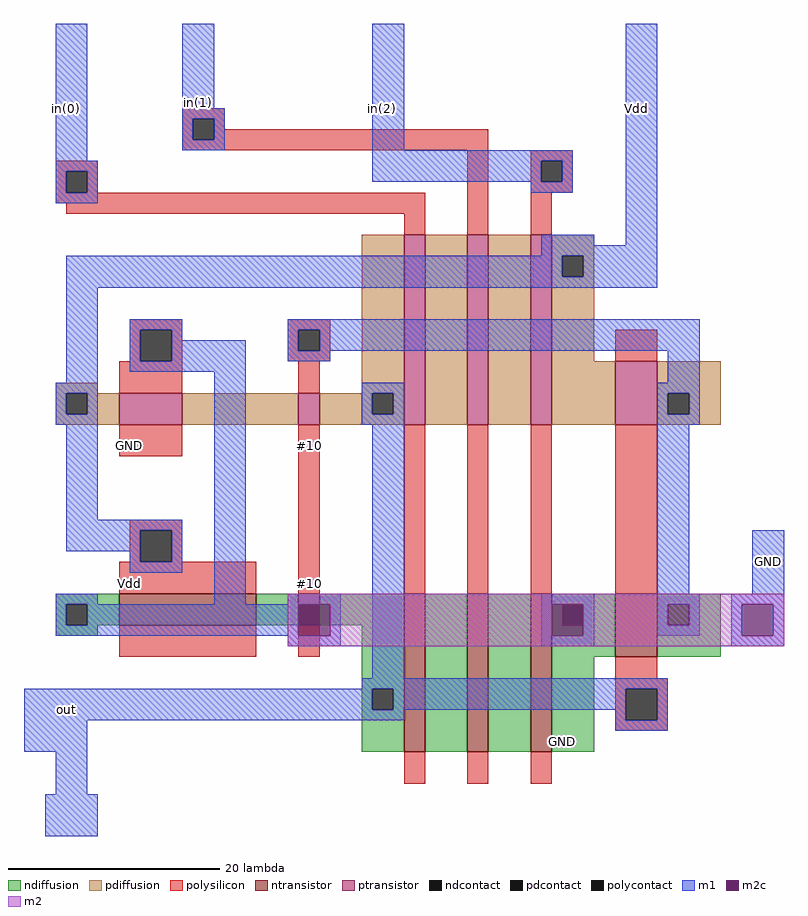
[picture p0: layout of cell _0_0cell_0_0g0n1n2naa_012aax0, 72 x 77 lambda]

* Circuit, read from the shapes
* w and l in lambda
.subckt _0_0cell_0_0g0n1n2naa_012aax0 Vdd in(2) out in(0)
M1 n1 Vdd GND VSUBS nfet w=3 l=13
M2 out #10 n1 VSUBS nfet w=3 l=2
M3 n2 in(0) out VSUBS nfet w=15 l=2
M4 n3 in(1) n2 VSUBS nfet w=15 l=2
M5 GND in(2) n3 VSUBS nfet w=15 l=2
M6 #10 out GND VSUBS nfet w=6 l=4
M7 n4 GND Vdd NWELL pfet w=3 l=6
M8 out #10 n4 NWELL pfet w=3 l=2
M9 n5 in(0) out NWELL pfet w=18 l=2
M10 n6 in(1) n5 NWELL pfet w=18 l=2
M11 Vdd in(2) n6 NWELL pfet w=18 l=2
M12 #10 out Vdd NWELL pfet w=6 l=4
.ends

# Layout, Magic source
magic
tech TSMC180
<< ndiffusion >>
rect 6 21 12 22
rect 6 19 7 21
rect 9 19 12 21
rect 25 19 29 22
rect 31 19 39 22
rect 6 18 10 19
rect 35 13 39 19
rect 35 11 36 13
rect 38 11 39 13
rect 35 7 39 11
rect 41 7 45 22
rect 47 7 51 22
rect 53 21 59 22
rect 53 19 54 21
rect 56 19 59 21
rect 53 16 59 19
rect 63 21 69 22
rect 63 19 64 21
rect 66 19 69 21
rect 63 16 69 19
rect 53 7 57 16
<< ndcontact >>
rect 7 19 9 21
rect 36 11 38 13
rect 54 19 56 21
rect 64 19 66 21
<< ntransistor >>
rect 12 19 25 22
rect 29 19 31 22
rect 39 7 41 22
rect 45 7 47 22
rect 51 7 53 22
rect 59 16 63 22
<< pdiffusion >>
rect 6 41 10 42
rect 35 41 39 56
rect 6 39 7 41
rect 9 39 12 41
rect 6 38 12 39
rect 18 38 29 41
rect 31 39 36 41
rect 38 39 39 41
rect 31 38 39 39
rect 41 38 45 56
rect 47 38 51 56
rect 53 54 57 56
rect 53 52 54 54
rect 56 52 57 54
rect 53 44 57 52
rect 53 38 59 44
rect 63 41 69 44
rect 63 39 64 41
rect 66 39 69 41
rect 63 38 69 39
<< pdcontact >>
rect 7 39 9 41
rect 36 39 38 41
rect 54 52 56 54
rect 64 39 66 41
<< ptransistor >>
rect 12 38 18 41
rect 29 38 31 41
rect 39 38 41 56
rect 45 38 47 56
rect 51 38 53 56
rect 59 38 63 44
<< polysilicon >>
rect 18 67 22 68
rect 18 65 19 67
rect 21 66 22 67
rect 21 65 47 66
rect 18 64 47 65
rect 6 62 10 63
rect 6 60 7 62
rect 9 60 10 62
rect 6 59 41 60
rect 7 58 41 59
rect 39 56 41 58
rect 45 56 47 64
rect 51 63 55 64
rect 51 61 52 63
rect 54 61 55 63
rect 51 60 55 61
rect 51 56 53 60
rect 13 47 18 48
rect 13 44 14 47
rect 17 44 18 47
rect 28 47 32 48
rect 28 45 29 47
rect 31 45 32 47
rect 28 44 32 45
rect 12 41 18 44
rect 29 41 31 44
rect 59 44 63 47
rect 12 35 18 38
rect 13 28 18 29
rect 13 25 14 28
rect 17 25 18 28
rect 12 22 25 25
rect 29 22 31 38
rect 39 22 41 38
rect 45 22 47 38
rect 51 22 53 38
rect 59 22 63 38
rect 12 16 25 19
rect 29 16 31 19
rect 59 14 63 16
rect 59 13 64 14
rect 59 10 60 13
rect 63 10 64 13
rect 59 9 64 10
rect 39 4 41 7
rect 45 4 47 7
rect 51 4 53 7
<< polycontact >>
rect 19 65 21 67
rect 7 60 9 62
rect 52 61 54 63
rect 14 44 17 47
rect 29 45 31 47
rect 14 25 17 28
rect 60 10 63 13
<< m1 >>
rect 6 63 9 76
rect 18 68 21 76
rect 18 67 22 68
rect 18 65 19 67
rect 21 65 22 67
rect 18 64 22 65
rect 36 64 39 76
rect 36 63 55 64
rect 6 62 10 63
rect 6 60 7 62
rect 9 60 10 62
rect 36 61 52 63
rect 54 61 55 63
rect 51 60 55 61
rect 6 59 10 60
rect 52 55 57 56
rect 60 55 63 76
rect 52 54 63 55
rect 7 52 54 54
rect 56 52 63 54
rect 7 51 63 52
rect 7 42 10 51
rect 13 47 18 48
rect 13 44 14 47
rect 17 46 18 47
rect 28 47 67 48
rect 17 44 24 46
rect 28 45 29 47
rect 31 45 67 47
rect 28 44 32 45
rect 13 43 24 44
rect 6 41 10 42
rect 6 39 7 41
rect 9 39 10 41
rect 6 38 10 39
rect 7 29 10 38
rect 7 28 18 29
rect 7 26 14 28
rect 13 25 14 26
rect 17 25 18 28
rect 13 24 18 25
rect 6 21 10 22
rect 21 21 24 43
rect 64 42 67 45
rect 35 41 39 42
rect 35 39 36 41
rect 38 39 39 41
rect 35 38 39 39
rect 28 21 33 22
rect 6 19 7 21
rect 9 19 29 21
rect 6 18 29 19
rect 32 18 33 21
rect 28 17 33 18
rect 36 14 39 38
rect 63 41 67 42
rect 63 39 64 41
rect 66 39 67 41
rect 63 38 67 39
rect 63 22 66 38
rect 72 22 75 28
rect 52 21 57 22
rect 52 18 53 21
rect 56 18 57 21
rect 63 21 67 22
rect 63 19 64 21
rect 66 19 67 21
rect 63 18 67 19
rect 70 21 75 22
rect 70 18 71 21
rect 74 18 75 21
rect 52 17 57 18
rect 70 17 75 18
rect 35 13 64 14
rect 3 11 36 13
rect 38 11 60 13
rect 3 10 39 11
rect 59 10 60 11
rect 63 10 64 13
rect 3 7 9 10
rect 59 9 64 10
rect 6 3 9 7
rect 5 -1 10 3
<< m2c >>
rect 29 18 32 21
rect 53 19 54 21
rect 54 19 56 21
rect 53 18 56 19
rect 71 18 74 21
<< m2 >>
rect 28 21 75 22
rect 28 18 29 21
rect 32 18 53 21
rect 56 18 71 21
rect 74 18 75 21
rect 28 17 75 18
<< labels >>
rlabel ndiffusion 54 8 54 8 3 GND
rlabel polysilicon 30 23 30 23 3 #10
rlabel polysilicon 30 36 30 36 3 #10
rlabel polysilicon 13 23 13 23 3 Vdd
rlabel polysilicon 13 36 13 36 3 GND
rlabel m1 61 68 61 68 3 Vdd
port 8 e
rlabel m1 18 67 21 70 5 in(1)
rlabel m1 7 11 7 11 3 out
port 11 e
rlabel m1 7 68 7 68 3 in(0)
port 12 e
rlabel m1 37 68 37 68 3 in(2)
port 9 e
rlabel m1 6 7 9 13 3 out
rlabel m1 72 22 75 28 7 GND
<< end >>
